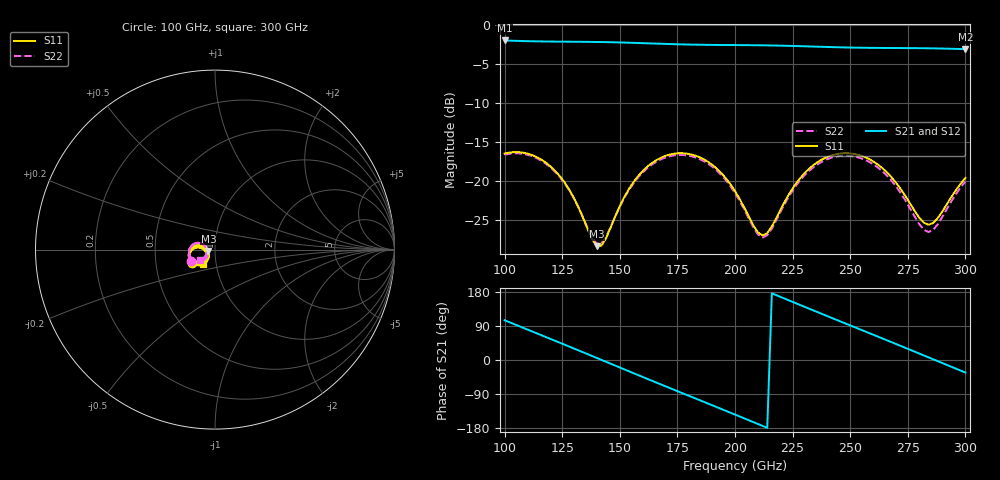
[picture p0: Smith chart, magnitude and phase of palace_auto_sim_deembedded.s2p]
! Created with skrf 1.11.0 (http://scikit-rf.org).
# GHz S DB R 50.0
!freq dBS11 angS11 dBS21 angS21 dBS12 angS12 dBS22 angS22
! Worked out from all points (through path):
!   101 points, 100 GHz to 300 GHz, reference 50 ohm
!   highest |S21| = -2.01 dB at 100 GHz (marker M1); lowest = -3.1 dB at 300 GHz (marker M2)
!   group delay of S21, straight-line fit = 6.92 ps
!   lowest |S11| = -28.4 dB at 140 GHz (marker M3), VSWR 1.08, Z = 46.4 - j0.705 ohm
!   |S11| at or under -10 dB: start of sweep to end of sweep
!   |S22| runs from -28.1 to -16.5 dB; largest |S21 - S12| = 8.9e-14
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100  -16.52 -150.3  -2.01 104.9  -2.01 104.9  -16.68 -155.2
108  -16.41 -166.1  -2.09 85.1  -2.09 85.1  -16.56 -171.4
116  -17.31 178.9  -2.14 65.3  -2.14 65.3  -17.45 173.3
126  -20.22 164.0  -2.17 40.5  -2.17 40.5  -20.33 158.2
134  -24.74 164.0  -2.19 20.5  -2.19 20.5  -24.69 158.3
140  -28.41 -168.5  -2.21 5.4  -2.21 5.4  -28.09 -176.0
144  -27.41 -140.3  -2.23 -4.7  -2.23 -4.7  -27.23 -149.9
152  -22.08 -124.6  -2.28 -24.8  -2.28 -24.8  -22.20 -134.5
160  -18.75 -132.3  -2.36 -44.9  -2.36 -44.9  -18.93 -142.1
168  -17.04 -145.2  -2.44 -64.8  -2.44 -64.8  -17.25 -155.2
176  -16.48 -159.4  -2.51 -84.6  -2.51 -84.6  -16.70 -169.8
184  -16.92 -173.5  -2.56 -104.4  -2.56 -104.4  -17.15 175.8
200  -21.35 167.0  -2.60 -144.0  -2.60 -144.0  -21.59 155.5
212  -27.03 -160.6  -2.64 -174.0  -2.64 -174.0  -27.30 -172.9
222  -22.47 -127.0  -2.69 160.9  -2.69 160.9  -22.75 -139.9
234  -18.01 -135.8  -2.80 130.9  -2.80 130.9  -18.29 -149.5
250  -16.50 -161.2  -2.92 91.3  -2.92 91.3  -16.82 -176.2
258  -17.20 -173.8  -2.96 71.6  -2.96 71.6  -17.55 170.5
268  -19.58 174.6  -2.98 46.9  -2.98 46.9  -20.03 157.7
284  -25.66 -157.9  -3.02 6.9  -3.02 6.9  -26.59 -174.0
292  -23.00 -131.1  -3.06 -13.1  -3.06 -13.1  -23.61 -146.0
300  -19.65 -129.5  -3.12 -33.1  -3.12 -33.1  -20.10 -145.8
